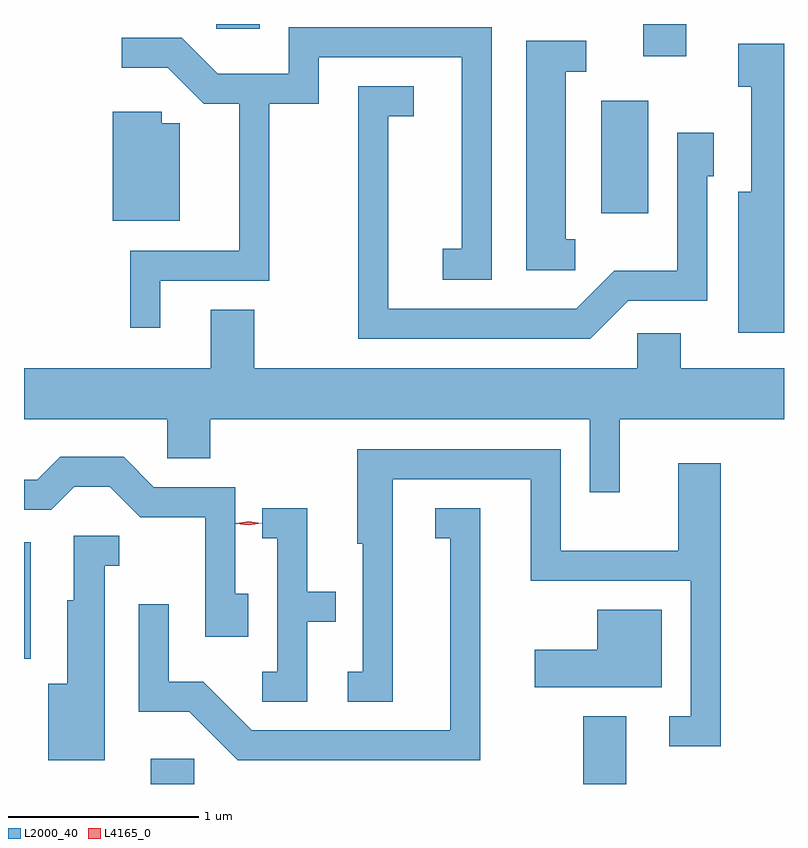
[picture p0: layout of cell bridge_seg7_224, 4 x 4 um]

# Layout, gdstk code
import gdstk
lib = gdstk.Library(unit=1e-6, precision=1e-09)
def R(c, l, rs):  # rectangles x0, y0, x1, y1
    for r in rs: c.add(gdstk.rectangle(r[:2], r[2:], *l))
def P(c, l, *ps):  # polygons
    for p in ps: c.add(gdstk.Polygon(p, *l))
L2000_40 = (2000, 40)
L4165_0 = (4165, 0)

bridge_seg7_224 = lib.new_cell('bridge_seg7_224')
R(bridge_seg7_224, L2000_40, [(1820.896,1707.957,1821.124,1708.089), (1823.171,1707.957,1823.399,1708.314), (1820.228,1708.616,1820.264,1709.229), (1823.266,1710.961,1823.514,1711.554), (1823.486,1711.786,1823.714,1711.957), (1821.241,1711.931,1821.469,1711.957)])
P(bridge_seg7_224, L2000_40, [(1820.944,1710.606),(1821.519,1710.606),(1821.519,1711.536),(1821.779,1711.536),(1821.779,1711.781),(1822.531,1711.781),(1822.531,1710.774),(1822.433,1710.774),(1822.433,1710.611),(1822.689,1710.611),(1822.689,1711.939),(1821.621,1711.939),(1821.621,1711.694),(1821.247,1711.694),(1821.057,1711.884),(1820.743,1711.884),(1820.743,1711.726),(1820.984,1711.726),(1821.174,1711.536),(1821.361,1711.536),(1821.361,1710.764),(1820.786,1710.764),(1820.786,1710.358),(1820.944,1710.358)],
  [(1823.128,1710.824),(1823.079,1710.824),(1823.079,1711.706),(1823.188,1711.706),(1823.188,1711.869),(1822.871,1711.869),(1822.871,1710.661),(1823.128,1710.661)],
  [(1824.228,1711.854),(1823.986,1711.854),(1823.986,1711.626),(1824.056,1711.626),(1824.056,1711.074),(1823.986,1711.074),(1823.986,1710.331),(1824.228,1710.331)],
  [(1823.407,1710.501),(1823.824,1710.501),(1823.824,1711.156),(1823.859,1711.156),(1823.859,1711.384),(1823.666,1711.384),(1823.666,1710.659),(1823.334,1710.659),(1823.134,1710.459),(1822.144,1710.459),(1822.144,1711.471),(1822.278,1711.471),(1822.278,1711.629),(1821.986,1711.629),(1821.986,1710.301),(1823.207,1710.301)],
  [(1821.049,1711.434),(1820.954,1711.434),(1820.954,1711.494),(1820.696,1711.494),(1820.696,1710.921),(1821.049,1710.921)],
  [(1823.364,1709.876),(1824.228,1709.876),(1824.228,1710.144),(1823.684,1710.144),(1823.684,1710.329),(1823.456,1710.329),(1823.456,1710.144),(1821.439,1710.144),(1821.439,1710.454),(1821.211,1710.454),(1821.211,1710.144),(1820.228,1710.144),(1820.228,1709.876),(1820.981,1709.876),(1820.981,1709.671),(1821.209,1709.671),(1821.209,1709.876),(1823.206,1709.876),(1823.206,1709.493),(1823.364,1709.493)],
  [(1823.894,1709.644),(1823.671,1709.644),(1823.671,1709.184),(1823.054,1709.184),(1823.054,1709.719),(1821.981,1709.719),(1821.981,1709.221),(1822.011,1709.221),(1822.011,1708.549),(1821.933,1708.549),(1821.933,1708.391),(1822.169,1708.391),(1822.169,1709.561),(1822.896,1709.561),(1822.896,1709.026),(1823.736,1709.026),(1823.736,1708.314),(1823.623,1708.314),(1823.623,1708.156),(1823.894,1708.156)],
  [(1821.409,1708.959),(1821.339,1708.959),(1821.339,1709.519),(1820.912,1709.519),(1820.752,1709.679),(1820.419,1709.679),(1820.299,1709.559),(1820.228,1709.559),(1820.228,1709.401),(1820.372,1709.401),(1820.492,1709.521),(1820.679,1709.521),(1820.839,1709.361),(1821.181,1709.361),(1821.181,1708.731),(1821.409,1708.731)],
  [(1821.719,1708.811),(1821.868,1708.811),(1821.868,1708.969),(1821.719,1708.969),(1821.719,1709.409),(1821.483,1709.409),(1821.483,1709.251),(1821.561,1709.251),(1821.561,1708.549),(1821.483,1708.549),(1821.483,1708.391),(1821.719,1708.391)],
  [(1822.629,1709.409),(1822.393,1709.409),(1822.393,1709.251),(1822.471,1709.251),(1822.471,1708.239),(1821.427,1708.239),(1821.172,1708.494),(1820.989,1708.494),(1820.989,1708.903),(1820.831,1708.903),(1820.831,1708.336),(1821.099,1708.336),(1821.354,1708.081),(1822.629,1708.081)],
  [(1820.654,1709.106),(1820.728,1709.106),(1820.728,1709.264),(1820.491,1709.264),(1820.491,1708.924),(1820.456,1708.924),(1820.456,1708.484),(1820.356,1708.484),(1820.356,1708.081),(1820.654,1708.081)],
  [(1823.584,1708.874),(1823.246,1708.874),(1823.246,1708.664),(1822.916,1708.664),(1822.916,1708.466),(1823.584,1708.466)])
P(bridge_seg7_224, L4165_0, [(1821.411,1709.319),(1821.345,1709.328),(1821.345,1709.329),(1821.345,1709.329),(1821.411,1709.339),(1821.477,1709.33),(1821.478,1709.329),(1821.477,1709.329)],
  [(1821.411,1709.319),(1821.343,1709.328),(1821.342,1709.329),(1821.343,1709.329),(1821.411,1709.339),(1821.48,1709.33),(1821.481,1709.329),(1821.48,1709.329)])

lib.write_gds('bridge_seg7_224.gds')
